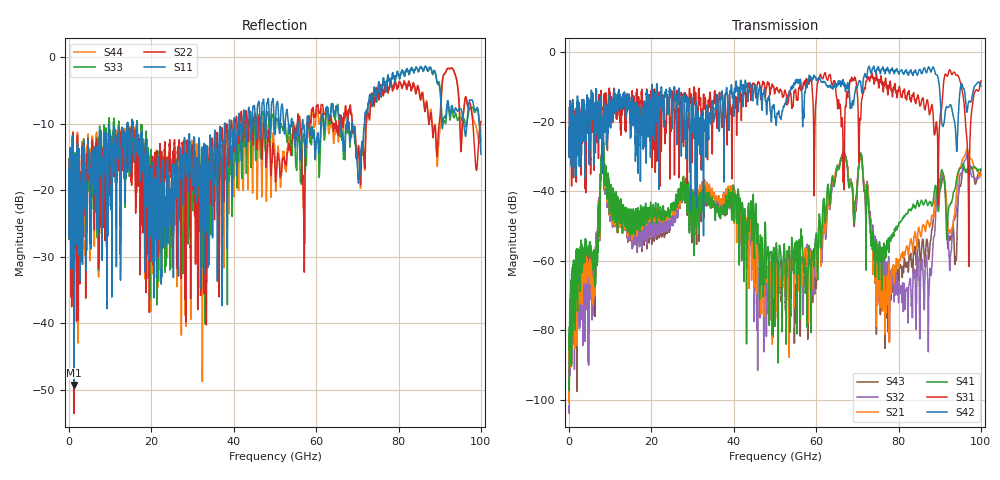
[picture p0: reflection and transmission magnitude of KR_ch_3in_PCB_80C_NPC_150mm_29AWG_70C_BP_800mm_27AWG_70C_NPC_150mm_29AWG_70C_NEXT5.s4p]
# GHz S RI R 45
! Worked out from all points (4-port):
!   4000 points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, 25 MHz to 100 GHz, reference 45 ohm
!   strongest paths, dB at 25 MHz, 25.02 GHz, 50.02 GHz, 75.03 GHz, 100 GHz:
!     S42: -21.8, -20.6, -18.8, -4.2, -9.7
!     S31: -21.8, -12.0, -11.4, -8.1, -8.3
!     S41: -94.0, -44.5, -71.8, -58.5, -33.6
!     S21: -97.8, -45.7, -66.1, -62.1, -35.0
!     S32: -101.9, -49.0, -70.4, -57.4, -35.3
!     S43: -96.5, -48.9, -71.1, -62.1, -34.1
!   lowest |S11| = -49.2 dB at 1.225 GHz (marker M1), VSWR 1.01, Z = 45.3 - j0.0216 ohm
!   |S11| at or under -10 dB: start of sweep to 14.15 GHz; 16.58 GHz to 37.77 GHz (21.2 GHz wide, 78 % of centre); 68.84 GHz to 71.74 GHz (2.901 GHz wide, 4.13 % of centre) (the widest 3 of 36)
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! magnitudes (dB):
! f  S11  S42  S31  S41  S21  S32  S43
! 25 MHz  -17.2  -21.8  -21.8  -94.0  -97.8  -101.9  -96.5
! 1.225 GHz  -49.2  -27.8  -27.2  -66.5  -71.7  -83.8  -70.7
! 8.1 GHz  -17.5  -18.8  -22.7  -29.9  -30.3  -30.4  -30.1
! 46.08 GHz  -6.7  -11.0  -8.8  -56.0  -56.5  -64.5  -68.4
! 70.78 GHz  -15.0  -8.4  -19.5  -29.1  -30.0  -29.6  -29.1
! 76.58 GHz  -4.1  -5.2  -9.0  -58.8  -67.7  -60.7  -64.7
! 100 GHz  -14.6  -9.7  -8.3  -33.6  -35.0  -35.3  -34.1
